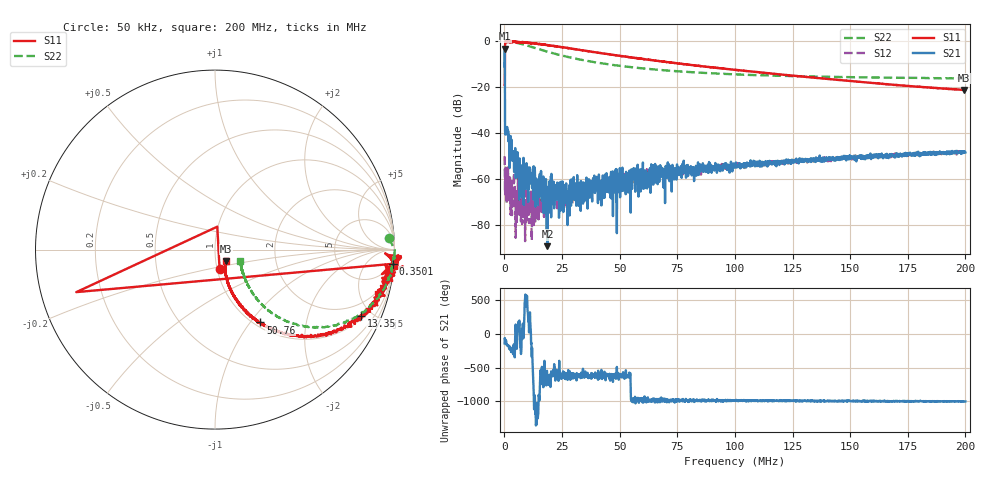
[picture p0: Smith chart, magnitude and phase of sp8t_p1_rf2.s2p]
! 26-Feb-26 11:21:29 AM
! E:\VNA_MEASUREMENTS\SP8T\SP8T_P1_RF2.S2P
! CHANNEL.1
! TR.MEASUREMENT
! CORRECTED.DATA
# GHZ S RI R 50.0
! FREQ.GHZ  S11RE  S11IM  S21RE  S21IM  S12RE  S12IM  S22RE  S22IM
!; PortSelection: Port_12
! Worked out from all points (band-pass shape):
!   2000 points, 50 kHz to 200 MHz, reference 50 ohm
!   highest |S21| = -3.17 dB at 150 kHz (marker M1); lowest = -89.2 dB at 18.65 MHz (marker M2)
!   |S21| within 3 dB of the highest: 111.2 kHz to 158.3 kHz (47.12 kHz wide, 35 % of centre)
!   lowest |S11| = -21.2 dB at 199.4 MHz (marker M3), VSWR 1.19, Z = 55.9 - j7.18 ohm
!   |S11| at or under -10 dB: start of sweep to 199 kHz; 78.63967 MHz to 78.70137 MHz (61.7 kHz wide, 0.0784 % of centre); 79.22 MHz to end of sweep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
!   |S22| runs from -16.2 to 0.0 dB; largest |S21 - S12| = 0.69
!   S11 on the Smith chart (normalised r, x): 50 kHz: 1.03, -0.23; 350.1 kHz: 2, -25; 13.35 MHz: 1.19, -4.34; 50.76 MHz: 1.07, -1.12; 200 MHz: 1.12, -0.14
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5e-05  0.0256 -0.1104  -0.2242 -0.1759  -0.000187 0.00316  0.9692 0.064
0.000150025  0.0128 0.1278  0.34 -0.6051  -0.00101 -3.11e-05  1.002 -0.0023
0.000350075  0.9908 -0.0793  -0.00024 -0.0108  0.00103 0.000941  0.9999 -0.0381
0.0012503  0.9619 -0.0308  -0.00916 -0.0033  0.000369 -0.000141  1 -0.0854
0.006151526  0.9497 -0.2081  -0.0025 -0.000257  -1.03e-05 -0.000311  0.8516 -0.3256
0.01335333  0.8148 -0.3672  -0.000128 -0.00037  6.28e-05 9.65e-05  0.5733 -0.4342
0.016054  0.7684 -0.3998  0.000228 0.000768  9.07e-05 0.000619  0.4961 -0.427
0.01775443  0.7226 -0.4344  -8.48e-05 0.000601  -7.87e-05 0.00047  0.4541 -0.4178
0.01865465  0.7117 -0.4415  3.17e-05 1.45e-05  -0.000129 0.000334  0.4333 -0.4112
0.02225555  0.6281 -0.464  -9.18e-05 0.000413  -2.09e-05 0.000281  0.3689 -0.3864
0.02755688  0.5305 -0.48  -0.0001 0.000246  -3.75e-05 0.000369  0.304 -0.3426
0.0296574  0.4965 -0.4862  0.000137 0.00059  -0.000141 0.000619  0.2845 -0.3282
0.03345835  0.4356 -0.4769  -0.000303 0.000786  -0.000125 0.000485  0.2583 -0.303
0.03945986  0.3571 -0.4575  -0.000108 0.000974  -0.000158 0.000766  0.2275 -0.2671
0.04156038  0.3317 -0.4503  0.000365 0.000703  1.15e-05 0.000681  0.2201 -0.2567
0.05076268  0.2522 -0.406  -9.13e-05 0.000965  -0.000313 0.00112  0.1943 -0.2174
0.06676668  0.1655 -0.3361  -0.000665 0.0018  -0.000163 0.00101  0.1707 -0.171
0.100075  0.0866 -0.2251  0.000159 0.00179  -7.07e-05 0.00195  0.1512 -0.1184
0.1333833  0.0622 -0.1516  -0.000115 0.00249  0.000233 0.00267  0.1461 -0.0926
0.1666917  0.057 -0.1011  0.000847 0.00276  0.000528 0.00321  0.1434 -0.0775
0.1993998  0.0599 -0.0637  0.000778 0.00367  0.000864 0.00381  0.1418 -0.0658
0.2  0.0601 -0.0637  0.000913 0.00372  0.000801 0.0038  0.1418 -0.0659
